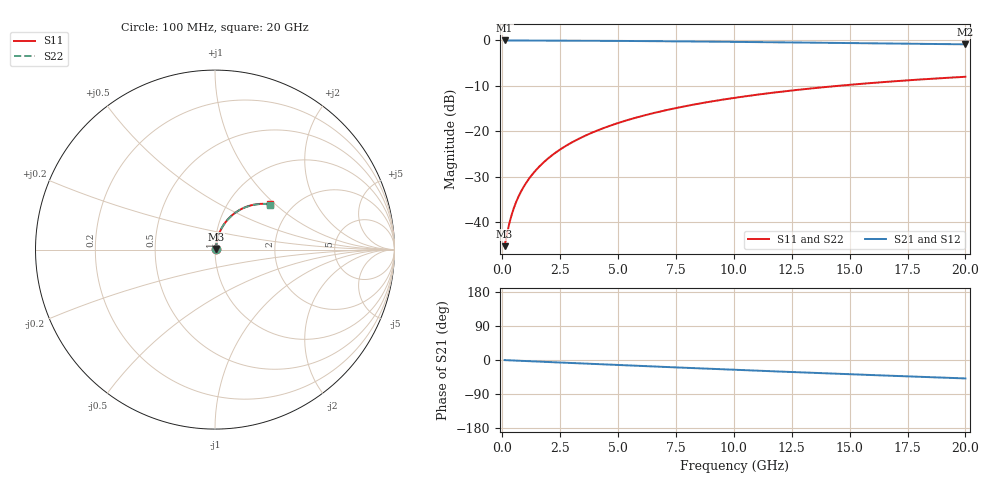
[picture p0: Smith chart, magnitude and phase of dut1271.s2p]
! Touchstone file exported from HFSS 2026.1.0
!  File:  C:/ffzhzh/LocalFiles/Ansys_Project_Files/temp_train_BSMRDL_1271_1783177670_22436.aedt
!  Generated:  11:09:02 PM Jul  4, 2026
!  Design:  BSMRDL
!  Project:  temp_train_BSMRDL_1271_1783177670_22436
! Variables:
!  h_bsmrdl = 3.38um
!  h_ox = 20um
!  h_rdl = 5um
!  h_sub = 80um
!  h_tmrdl = 5um
!  h_tsv = 80um
!  h_via = 3um
!  l_bsmrdl = 758.41um
!  l_sub = 1158.41um
!  l_tmrdl = 200um
!  m_sub = 200um
!  pitch = 36.68um
!  r_tsv = 6um
!  s_tmrdl = 10um
!  w_bsmrdl = 17.37um
!  w_sub = 500um
!  w_tmrdl = 12um
!  x_tsv_center1 = 206um
!  x_tsv_center2 = 981.78um
!  x_tsv_center3 = 1193.78um
!  x_tsv_center4 = 1969.56um
!  x_tsv_center5 = 2181.56um
!  x_tsv_center6 = 2957.34um
# GHz S MA R 50.000000
! Terminal data exported
! Port[1] = BSM_RDL1_1_T1
! Port[2] = BSM_RDL1_1_T2
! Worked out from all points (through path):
!   200 points, 100 MHz to 20 GHz, reference 50 ohm
!   highest |S21| = -0.04 dB at 100 MHz (marker M1); lowest = -0.9 dB at 20 GHz (marker M2)
!   group delay of S21, straight-line fit = 6.76 ps
!   lowest |S11| = -45.2 dB at 100 MHz (marker M3), VSWR 1.01, Z = 50.5 + j0.282 ohm
!   |S11| at or under -10 dB: start of sweep to 14.52 GHz
!   |S22| runs from -45.2 to -8.0 dB; largest |S21 - S12| = 4.4e-15
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0.1  0.005479 30.6  0.9953 -0.3  0.9953 -0.3  0.005479 30.6
! Gamma 0 0 0 0
! Port Impedance 50 0 50 0
0.2  0.007388 48.3  0.9951 -0.6  0.9951 -0.6  0.007388 48.3
0.3  0.009657 57.6  0.9949 -0.8  0.9949 -0.8  0.009658 57.6
0.4  0.01202 63.0  0.9947 -1.1  0.9947 -1.1  0.01202 63.0
0.5  0.01441 66.5  0.9945 -1.4  0.9945 -1.4  0.01441 66.5
0.6  0.0168 69.0  0.9943 -1.6  0.9943 -1.6  0.0168 69.0
0.8  0.0216 72.3  0.994 -2.2  0.994 -2.2  0.0216 72.3
1.1  0.02886 75.0  0.9936 -3.0  0.9936 -3.0  0.02886 75.0
1.3  0.03374 76.1  0.9934 -3.5  0.9934 -3.5  0.03374 76.1
1.6  0.04109 77.0  0.993 -4.3  0.993 -4.3  0.04109 76.9
2.1  0.05337 77.4  0.9922 -5.6  0.9922 -5.6  0.05337 77.4
2.7  0.06809 77.1  0.9909 -7.2  0.9909 -7.2  0.06809 77.1
3.5  0.08757 76.0  0.9889 -9.3  0.9889 -9.3  0.08757 76.0
4.2  0.1044 74.7  0.9868 -11.1  0.9868 -11.1  0.1044 74.6
5  0.1233 73.0  0.9841 -13.2  0.9841 -13.2  0.1234 73.0
5.9  0.1442 71.0  0.9806 -15.5  0.9806 -15.5  0.1442 70.9
6.8  0.1646 68.9  0.9767 -17.8  0.9767 -17.8  0.1646 68.8
8.3  0.1974 65.4  0.9696 -21.5  0.9696 -21.5  0.1974 65.3
10.1  0.2346 61.2  0.9602 -26.0  0.9602 -26.0  0.2346 61.1
13.4  0.2969 53.6  0.9413 -33.8  0.9413 -33.8  0.2969 53.5
16.7  0.3511 46.3  0.9217 -41.4  0.9217 -41.4  0.3511 46.2
20  0.3972 39.3  0.9025 -48.6  0.9025 -48.6  0.3972 39.1
